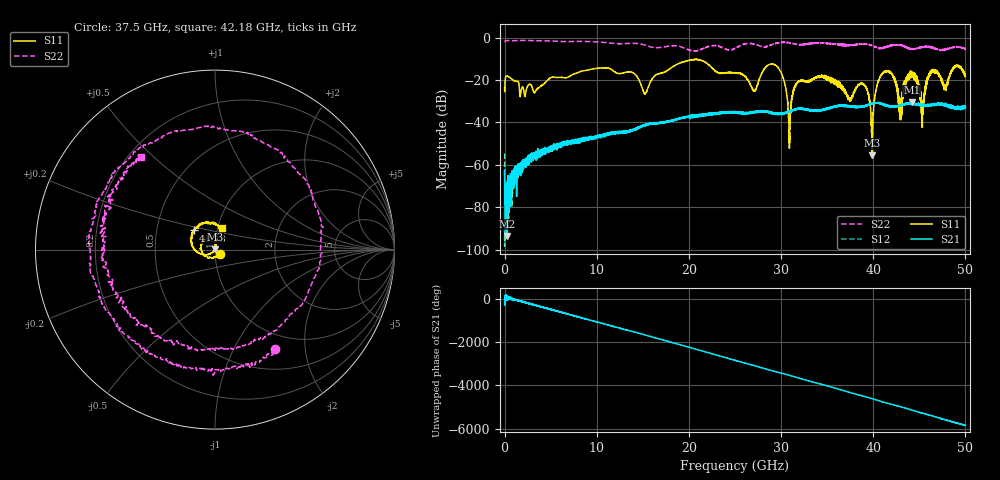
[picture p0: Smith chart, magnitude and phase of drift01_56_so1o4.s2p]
!Created with skrf (http://scikit-rf.org).
# Hz S RI R 50.0
!freq ReS11 ImS11 ReS21 ImS21 ReS12 ImS12 ReS22 ImS22
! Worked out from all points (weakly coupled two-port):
!   10001 points, 300 kHz to 50 GHz, reference 50 ohm
!   highest |S21| = -30.56 dB at 44.19 GHz (marker M1); lowest = -93.5 dB at 295.3 MHz (marker M2)
!   lowest |S11| = -55.5 dB at 39.88 GHz (marker M3), VSWR 1.00, Z = 49.9 + j0.112 ohm
!   |S11| at or under -10 dB: start of sweep to end of sweep
!   |S22| runs from -6.4 to -1.4 dB; largest |S21 - S12| = 0.0043
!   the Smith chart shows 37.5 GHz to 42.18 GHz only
!   S11 on the Smith chart (normalised r, x): 37.5 GHz: 1.05, -0.05; 41.28 GHz: 0.77, +0.17; 42.18 GHz: 1.04, +0.26
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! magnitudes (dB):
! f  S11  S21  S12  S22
! 300 kHz  -23.9  -62.5  -54.6  -2.1
! 295.3 MHz  -18.1  -93.5  -68.7  -1.4
! 2.21 GHz  -27.8  -59.2  -59.0  -1.4
! 8.335 GHz  -15.9  -48.5  -48.3  -1.8
! 16.67 GHz  -17.1  -40.2  -40.3  -4.8
! 25 GHz  -16.6  -35.5  -35.3  -5.0
! 27.1 GHz  -25.3  -35.1  -35.2  -3.1
! 29.44 GHz  -13.1  -35.7  -36.1  -2.8
! 30.91 GHz  -52.3  -35.0  -34.9  -2.5
! 31.69 GHz  -21.7  -33.9  -33.8  -3.2
! 33.34 GHz  -19.8  -34.3  -34.4  -2.7
! 37.5 GHz  -29.1  -32.6  -32.4  -3.8
! 38.97 GHz  -22.2  -32.5  -32.3  -3.1
! 39.88 GHz  -55.5  -31.1  -31.0  -3.7
! 41.28 GHz  -15.9  -31.5  -31.9  -4.5
! 41.67 GHz  -15.9  -32.1  -32.3  -4.2
! 42.18 GHz  -18.0  -32.4  -32.7  -3.6
! 42.95 GHz  -35.1  -31.9  -32.0  -3.5
! 44.19 GHz  -16.7  -30.6  -31.0  -5.4
! 45.31 GHz  -35.6  -32.1  -31.8  -4.4
! 46.42 GHz  -15.9  -31.7  -31.8  -4.8
! 50 GHz  -18.4  -32.6  -32.8  -5.2
